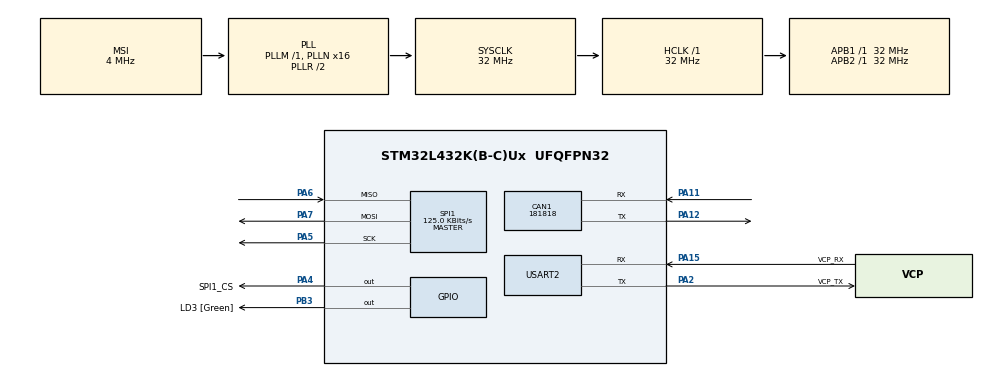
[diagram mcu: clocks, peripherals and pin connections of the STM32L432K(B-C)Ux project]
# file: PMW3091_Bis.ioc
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CAN1.BS1=CAN_BS1_8TQ
CAN1.BS2=CAN_BS2_2TQ
CAN1.CalculateBaudRate=181818
CAN1.CalculateTimeBit=5500
CAN1.CalculateTimeQuantum=500.0
Mcu.Family=STM32L4
Mcu.Name=STM32L432K(B-C)Ux
Mcu.Package=UFQFPN32
NVIC.CAN1_RX0_IRQn=true\:0\:0\:false\:false\:true\:true\:true\:true
NVIC.CAN1_RX1_IRQn=true\:0\:0\:false\:false\:true\:true\:true\:true
NVIC.CAN1_SCE_IRQn=true\:0\:0\:false\:false\:true\:true\:true\:true
NVIC.CAN1_TX_IRQn=true\:0\:0\:false\:false\:true\:true\:true\:true
NVIC.PriorityGroup=NVIC_PRIORITYGROUP_4
PA0.GPIO_Label=MCO [High speed clock in]
PA0.Mode=HSE-External-Clock-Source-for-LittleOrca
PA0.Signal=RCC_CK_IN
PA11.Mode=CAN_Activate
PA11.Signal=CAN1_RX
PA12.Mode=CAN_Activate
PA12.Signal=CAN1_TX
PA13\ (JTMS-SWDIO).GPIO_Label=SWDIO
PA13\ (JTMS-SWDIO).Mode=Serial_Wire
PA13\ (JTMS-SWDIO).Signal=SYS_JTMS-SWDIO
PA14\ (JTCK-SWCLK).GPIO_Label=SWCLK
PA14\ (JTCK-SWCLK).Mode=Serial_Wire
PA14\ (JTCK-SWCLK).Signal=SYS_JTCK-SWCLK
PA15\ (JTDI).GPIO_Label=VCP_RX
PA15\ (JTDI).Mode=Asynchronous
PA15\ (JTDI).Signal=USART2_RX
PA2.GPIO_Label=VCP_TX
PA2.Mode=Asynchronous
PA2.Signal=USART2_TX
PA4.GPIO_Label=SPI1_CS
PA4.Signal=GPIO_Output
PA5.Mode=Full_Duplex_Master
PA5.Signal=SPI1_SCK
PA6.Mode=Full_Duplex_Master
PA6.Signal=SPI1_MISO
PA7.Mode=Full_Duplex_Master
PA7.Signal=SPI1_MOSI
PB3\ (JTDO-TRACESWO).GPIO_Label=LD3 [Green]
PB3\ (JTDO-TRACESWO).Signal=GPIO_Output
PC14-OSC32_IN\ (PC14).Mode=LSE-External-Oscillator
PC14-OSC32_IN\ (PC14).Signal=RCC_OSC32_IN
PC15-OSC32_OUT\ (PC15).Mode=LSE-External-Oscillator
PC15-OSC32_OUT\ (PC15).Signal=RCC_OSC32_OUT
ProjectManager.HeapSize=0x200
ProjectManager.StackSize=0x400
ProjectManager.TargetToolchain=STM32CubeIDE
RCC.AHBFreq_Value=32000000
RCC.APB1Freq_Value=32000000
RCC.APB1TimFreq_Value=32000000
RCC.APB2Freq_Value=32000000
RCC.APB2TimFreq_Value=32000000
RCC.CortexFreq_Value=32000000
RCC.HCLKFreq_Value=32000000
RCC.HSE_VALUE=8000000
RCC.HSI16_VALUE=16000000
RCC.HSI48_VALUE=48000000
RCC.HSI_VALUE=16000000
RCC.MSI_VALUE=4000000
RCC.PLLMUL=RCC_PLLMUL_4
RCC.PLLN=16
RCC.SYSCLKFreq_VALUE=32000000
RCC.SYSCLKSource=RCC_SYSCLKSOURCE_PLLCLK
RCC.VCOOutputFreq_Value=64000000
SPI1.BaudRatePrescaler=SPI_BAUDRATEPRESCALER_256
SPI1.CalculateBaudRate=125.0 KBits/s
SPI1.DataSize=SPI_DATASIZE_8BIT
SPI1.Direction=SPI_DIRECTION_2LINES
SPI1.Mode=SPI_MODE_MASTER
SPI1.VirtualType=VM_MASTER
USART2.VirtualMode-Asynchronous=VM_ASYNC
board=NUCLEO-L432KC

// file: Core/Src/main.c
/* USER CODE BEGIN Header */
/**
  ******************************************************************************
  * @file           : main.c
  * @brief          : Main program body
  ******************************************************************************
  * @attention
  *
  * <h2><center>&copy; Copyright (c) 2022 STMicroelectronics.
  * All rights reserved.</center></h2>
  *
  * This software component is licensed by ST under BSD 3-Clause license,
  * the "License"; You may not use this file except in compliance with the
  * License. You may obtain a copy of the License at:
  *                        opensource.org/licenses/BSD-3-Clause
  *
  ******************************************************************************
  */
/* USER CODE END Header */
#include "main.h"

#define IN_MAIN_C

#include "can.c"
#include "can.h"
#include "defineCan.h"
#include "../../PMW3901/PMW3901.h"

/* USER CODE BEGIN Includes */

#define COEF_CAPTEUR_Petit_Robot_X  0.25 // permet de convertir en mm les valeurs de Variations du capteur du petit robot
#define COEF_CAPTEUR_Petit_Robot_Y	0.25

/* USER CODE END Includes */

CAN_HandleTypeDef hcan1;

SPI_HandleTypeDef hspi1;

UART_HandleTypeDef huart2;

uint8_t CanAdresse;

CAN_HandleTypeDef hcan_p;
GraphState_t state;

/* USER CODE BEGIN PV */

char buffer[1024]; // Initialisation d'une variable de stockage
uint16_t Tx_len;
PMW3901_Status_t status;
int16_t var_x,var_y; // Initialisation de la variation

float posX = 0; // Initialisation des variables de position
float posY = 0;

float dx = 0; // Initialisation des variables de déplacement
float dy = 0;

PMW3901_Descriptor_t PMW3901_Descriptor = {
		.hspi = &hspi1,
		.CS_Port = SPI1_CS_GPIO_Port,
		.CS_Pin = SPI1_CS_Pin
}; // Initialise le port SPI

/* USER CODE END PV */

void SystemClock_Config(void);
static void MX_GPIO_Init(void);
static void MX_USART2_UART_Init(void);
static void MX_SPI1_Init(void);
static void MX_CAN1_Init(void);

/* USER CODE BEGIN 0 */

void print_relative() {

	status = PMW3901_Read_Variation(&var_x, &var_y); // Permet de lire les valeurs de var_x et var_y

	dx = COEF_CAPTEUR_Petit_Robot_X * var_x;
	posX = posX + dx; // Permet de déterminer la position du robot grâce au capteur optique en X

	dy = COEF_CAPTEUR_Petit_Robot_Y * var_y;
	posY = posY + dy; // Permet de déterminer la position du robot grâce au capteur optique en Y

	Tx_len = sprintf (buffer, "Position x = %f\tPosition y = %f\tStatus = %d\r\n",posX,posY,status);
	HAL_UART_Transmit(&huart2, (uint8_t*)buffer, Tx_len, 100); // Permet d'afficher en uart dans le terminal le posX, posY, status

	HAL_Delay(10); // Permet de mettre un délai de 10 ms
}

void msg_optique(uint16_t x,uint16_t y, uint8_t* msg) {
	uint8_t bigX[2] = {(uint8_t) (x >> 8), (uint8_t) (x & 0xff)};
	uint8_t bigY[2] = {(uint8_t) (y >> 8), (uint8_t) (y & 0xff)};
	for (int i = 0; i < 2; i++) {
		msg[i] = bigX[i];
		msg[i+2] = bigY[i];
	}
	send(CAN_ADDR_RASPBERRY, GET_OPTIQUE, msg, 4, true, 1, 3);
}

/* USER CODE END 0 */

int main(void)
{

  /* MCU Configuration--------------------------------------------------------*/

  /* Reset of all peripherals, Initializes the Flash interface and the Systick. */
  HAL_Init();

  /* Configure the system clock */
  SystemClock_Config();

  /* Initialize all configured peripherals */
  MX_GPIO_Init();
  MX_USART2_UART_Init();
  MX_SPI1_Init();
  MX_CAN1_Init();
  /* USER CODE BEGIN 2 */

  Tx_len = sprintf (buffer, "init\r\n"); // Début initialisation + écriture de "init"
  HAL_UART_Transmit(&huart2,(uint8_t*) buffer, Tx_len, 100); // Permet d'écrire en uart le tx_len : Va écrire dans le terminal ; "init"

  status = PMW3901_Init(&PMW3901_Descriptor); // Permet d'initialiser le capteur optique

  Tx_len = sprintf (buffer, "init status = %d\r\n",status); // Permet d'afficher status qui s'il est égal à 0 veut dire que tout fonctionne
  HAL_UART_Transmit(&huart2, (uint8_t*)buffer, Tx_len, 100); // Permet d'écrire dans le terminal : "init status = " avec le status qui doit être à 0 indiquant que tout fonctionne

  CAN_Config(hcan1, CAN_ADDR_ODOMETRIE_E);

  /* USER CODE END 2 */

  /* Infinite loop */
  while (1)
  {

    /* USER CODE BEGIN 3 */

	/*
	uint8_t msgopt[4];
	int16_t x;
	int16_t y;
	PMW3901_Read_Variation(&x, &y);
	msg_optique(x, y, msgopt);
	HAL_Delay(1000);
	*/

	  // Fonctions à ajouter :
	  // - Implémenter le bus CAN
	  // - Remettre la position à 0 avec le bus CAN
	  // - Envoyer les données sur le bus CAN
	  //

  }
  /* USER CODE END 3 */
}

void SystemClock_Config(void)
{
  RCC_OscInitTypeDef RCC_OscInitStruct = {0};
  RCC_ClkInitTypeDef RCC_ClkInitStruct = {0};

  /** Configure the main internal regulator output voltage
  */
  if (HAL_PWREx_ControlVoltageScaling(PWR_REGULATOR_VOLTAGE_SCALE1) != HAL_OK)
  {
    Error_Handler();
  }
  /** Configure LSE Drive Capability
  */
  HAL_PWR_EnableBkUpAccess();
  __HAL_RCC_LSEDRIVE_CONFIG(RCC_LSEDRIVE_LOW);
  /** Initializes the RCC Oscillators according to the specified parameters
  * in the RCC_OscInitTypeDef structure.
  */
  RCC_OscInitStruct.OscillatorType = RCC_OSCILLATORTYPE_LSE|RCC_OSCILLATORTYPE_MSI;
  RCC_OscInitStruct.LSEState = RCC_LSE_ON;
  RCC_OscInitStruct.MSIState = RCC_MSI_ON;
  RCC_OscInitStruct.MSICalibrationValue = 0;
  RCC_OscInitStruct.MSIClockRange = RCC_MSIRANGE_6;
  RCC_OscInitStruct.PLL.PLLState = RCC_PLL_ON;
  RCC_OscInitStruct.PLL.PLLSource = RCC_PLLSOURCE_MSI;
  RCC_OscInitStruct.PLL.PLLM = 1;
  RCC_OscInitStruct.PLL.PLLN = 16;
  RCC_OscInitStruct.PLL.PLLP = RCC_PLLP_DIV7;
  RCC_OscInitStruct.PLL.PLLQ = RCC_PLLQ_DIV2;
  RCC_OscInitStruct.PLL.PLLR = RCC_PLLR_DIV2;
  if (HAL_RCC_OscConfig(&RCC_OscInitStruct) != HAL_OK)
  {
    Error_Handler();
  }
  /** Initializes the CPU, AHB and APB buses clocks
  */
  RCC_ClkInitStruct.ClockType = RCC_CLOCKTYPE_HCLK|RCC_CLOCKTYPE_SYSCLK
                              |RCC_CLOCKTYPE_PCLK1|RCC_CLOCKTYPE_PCLK2;
  RCC_ClkInitStruct.SYSCLKSource = RCC_SYSCLKSOURCE_PLLCLK;
  RCC_ClkInitStruct.AHBCLKDivider = RCC_SYSCLK_DIV1;
  RCC_ClkInitStruct.APB1CLKDivider = RCC_HCLK_DIV1;
  RCC_ClkInitStruct.APB2CLKDivider = RCC_HCLK_DIV1;

  if (HAL_RCC_ClockConfig(&RCC_ClkInitStruct, FLASH_LATENCY_1) != HAL_OK)
  {
    Error_Handler();
  }
  /** Enable MSI Auto calibration
  */
  HAL_RCCEx_EnableMSIPLLMode();
}

static void MX_CAN1_Init(void)
{

  hcan1.Instance = CAN1;
  hcan1.Init.Prescaler = 16;
  hcan1.Init.Mode = CAN_MODE_NORMAL;
  hcan1.Init.SyncJumpWidth = CAN_SJW_1TQ;
  hcan1.Init.TimeSeg1 = CAN_BS1_8TQ;
  hcan1.Init.TimeSeg2 = CAN_BS2_2TQ;
  hcan1.Init.TimeTriggeredMode = DISABLE;
  hcan1.Init.AutoBusOff = DISABLE;
  hcan1.Init.AutoWakeUp = DISABLE;
  hcan1.Init.AutoRetransmission = DISABLE;
  hcan1.Init.ReceiveFifoLocked = DISABLE;
  hcan1.Init.TransmitFifoPriority = DISABLE;
  if (HAL_CAN_Init(&hcan1) != HAL_OK)
  {
    Error_Handler();
  }

}

static void MX_SPI1_Init(void)
{

  /* SPI1 parameter configuration*/
  hspi1.Instance = SPI1;
  hspi1.Init.Mode = SPI_MODE_MASTER;
  hspi1.Init.Direction = SPI_DIRECTION_2LINES;
  hspi1.Init.DataSize = SPI_DATASIZE_8BIT;
  hspi1.Init.CLKPolarity = SPI_POLARITY_LOW;
  hspi1.Init.CLKPhase = SPI_PHASE_1EDGE;
  hspi1.Init.NSS = SPI_NSS_SOFT;
  hspi1.Init.BaudRatePrescaler = SPI_BAUDRATEPRESCALER_256;
  hspi1.Init.FirstBit = SPI_FIRSTBIT_MSB;
  hspi1.Init.TIMode = SPI_TIMODE_DISABLE;
  hspi1.Init.CRCCalculation = SPI_CRCCALCULATION_DISABLE;
  hspi1.Init.CRCPolynomial = 7;
  hspi1.Init.CRCLength = SPI_CRC_LENGTH_DATASIZE;
  hspi1.Init.NSSPMode = SPI_NSS_PULSE_ENABLE;
  if (HAL_SPI_Init(&hspi1) != HAL_OK)
  {
    Error_Handler();
  }

}

static void MX_USART2_UART_Init(void)
{

  huart2.Instance = USART2;
  huart2.Init.BaudRate = 115200;
  huart2.Init.WordLength = UART_WORDLENGTH_8B;
  huart2.Init.StopBits = UART_STOPBITS_1;
  huart2.Init.Parity = UART_PARITY_NONE;
  huart2.Init.Mode = UART_MODE_TX_RX;
  huart2.Init.HwFlowCtl = UART_HWCONTROL_NONE;
  huart2.Init.OverSampling = UART_OVERSAMPLING_16;
  huart2.Init.OneBitSampling = UART_ONE_BIT_SAMPLE_DISABLE;
  huart2.AdvancedInit.AdvFeatureInit = UART_ADVFEATURE_NO_INIT;
  if (HAL_UART_Init(&huart2) != HAL_OK)
  {
    Error_Handler();
  }

}

static void MX_GPIO_Init(void)
{
  GPIO_InitTypeDef GPIO_InitStruct = {0};

  /* GPIO Ports Clock Enable */
  __HAL_RCC_GPIOC_CLK_ENABLE();
  __HAL_RCC_GPIOA_CLK_ENABLE();
  __HAL_RCC_GPIOB_CLK_ENABLE();

  /*Configure GPIO pin Output Level */
  HAL_GPIO_WritePin(SPI1_CS_GPIO_Port, SPI1_CS_Pin, GPIO_PIN_RESET);

  /*Configure GPIO pin Output Level */
  HAL_GPIO_WritePin(LD3_GPIO_Port, LD3_Pin, GPIO_PIN_RESET);

  /*Configure GPIO pin : SPI1_CS_Pin */
  GPIO_InitStruct.Pin = SPI1_CS_Pin;
  GPIO_InitStruct.Mode = GPIO_MODE_OUTPUT_PP;
  GPIO_InitStruct.Pull = GPIO_NOPULL;
  GPIO_InitStruct.Speed = GPIO_SPEED_FREQ_LOW;
  HAL_GPIO_Init(SPI1_CS_GPIO_Port, &GPIO_InitStruct);

  /*Configure GPIO pin : LD3_Pin */
  GPIO_InitStruct.Pin = LD3_Pin;
  GPIO_InitStruct.Mode = GPIO_MODE_OUTPUT_PP;
  GPIO_InitStruct.Pull = GPIO_NOPULL;
  GPIO_InitStruct.Speed = GPIO_SPEED_FREQ_LOW;
  HAL_GPIO_Init(LD3_GPIO_Port, &GPIO_InitStruct);

}

void Error_Handler(void)
{
  __disable_irq();
  while (1)
  {
  }
}

/************************ (C) COPYRIGHT STMicroelectronics *****END OF FILE****/
